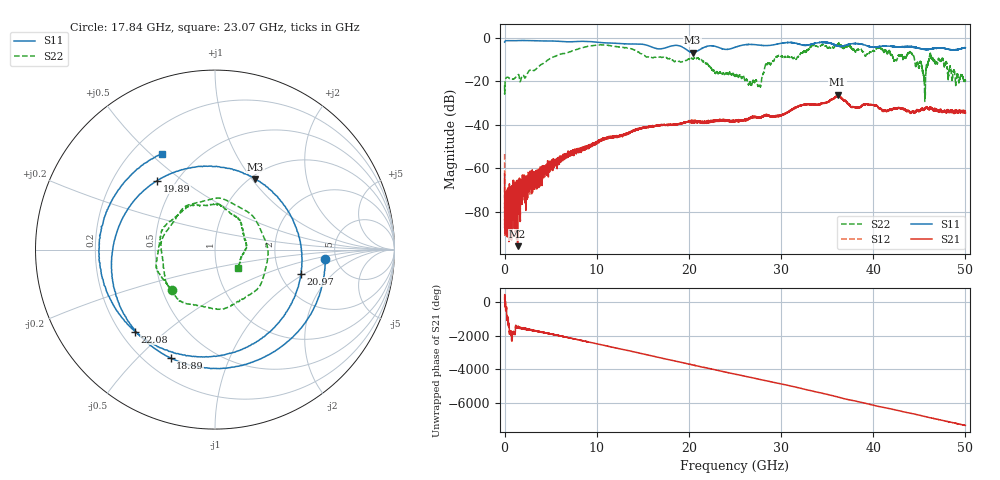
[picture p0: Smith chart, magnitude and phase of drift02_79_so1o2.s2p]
!Created with skrf (http://scikit-rf.org).
# Hz S RI R 50.0
!freq ReS11 ImS11 ReS21 ImS21 ReS12 ImS12 ReS22 ImS22
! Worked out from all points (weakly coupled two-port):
!   10001 points, 300 kHz to 50 GHz, reference 50 ohm
!   highest |S21| = -26.18 dB at 36.13 GHz (marker M1); lowest = -95.6 dB at 1.41 GHz (marker M2)
!   lowest |S11| = -6.9 dB at 20.4 GHz (marker M3), VSWR 2.64, Z = 52.8 + j51.9 ohm
!   |S11| at or under -10 dB: nowhere
!   |S22| runs from -29.3 to -2.4 dB; largest |S21 - S12| = 0.0049
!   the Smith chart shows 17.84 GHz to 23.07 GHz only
!   S11 on the Smith chart (normalised r, x): 17.84 GHz: 4.08, -0.70; 18.89 GHz: 0.30, -0.63; 19.89 GHz: 0.39, +0.40; 20.97 GHz: 2.60, -0.92; 22.08 GHz: 0.26, -0.40; 23.07 GHz: 0.32, +0.55
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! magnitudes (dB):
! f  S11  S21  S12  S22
! 300 kHz  -2.1  -62.6  -53.4  -21.8
! 255.3 MHz  -1.4  -74.1  -75.6  -18.2
! 1.41 GHz  -1.4  -95.6  -74.5  -17.3
! 8.335 GHz  -1.7  -51.2  -51.1  -4.7
! 16.67 GHz  -5.2  -40.2  -40.5  -9.0
! 17.84 GHz  -4.2  -39.9  -39.9  -9.7
! 18.89 GHz  -3.7  -39.8  -39.7  -10.9
! 19.89 GHz  -6.0  -38.6  -38.5  -9.9
! 20.4 GHz  -6.9  -39.1  -38.2  -9.8
! 20.97 GHz  -6.1  -38.6  -38.8  -9.3
! 22.08 GHz  -3.9  -38.4  -38.5  -12.4
! 23.07 GHz  -4.3  -38.0  -38.1  -15.7
! 25 GHz  -4.5  -38.3  -38.3  -17.6
! 27.63 GHz  -3.5  -36.5  -36.7  -21.4
! 29.54 GHz  -3.0  -35.9  -35.8  -8.8
! 33.34 GHz  -3.0  -30.5  -30.6  -3.8
! 36.13 GHz  -4.0  -26.2  -26.9  -3.2
! 41.67 GHz  -3.9  -33.3  -33.4  -6.1
! 44.13 GHz  -4.2  -34.5  -34.5  -7.0
! 45.5 GHz  -5.3  -32.9  -32.9  -17.8
! 46.29 GHz  -5.2  -32.7  -32.4  -9.7
! 50 GHz  -4.6  -34.6  -34.3  -20.0
